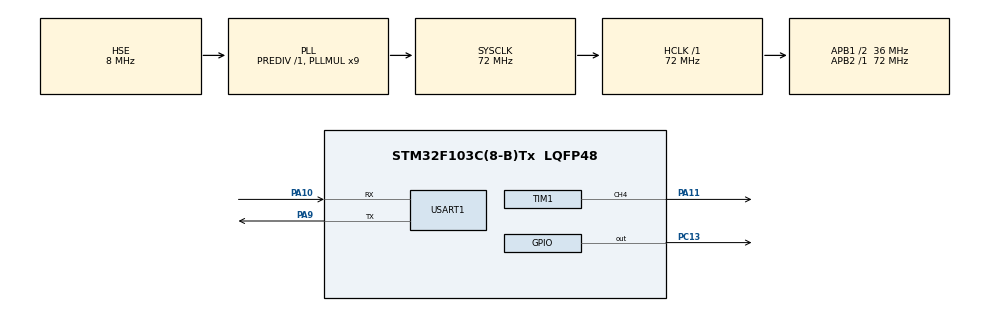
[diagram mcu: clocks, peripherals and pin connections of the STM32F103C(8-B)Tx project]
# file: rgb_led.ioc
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Dma.Request0=TIM1_CH4/TRIG/COM
Dma.Request1=USART1_RX
Dma.TIM1_CH4/TRIG/COM.0.Direction=DMA_MEMORY_TO_PERIPH
Dma.TIM1_CH4/TRIG/COM.0.Instance=DMA1_Channel4
Dma.TIM1_CH4/TRIG/COM.0.MemDataAlignment=DMA_MDATAALIGN_HALFWORD
Dma.TIM1_CH4/TRIG/COM.0.MemInc=DMA_MINC_ENABLE
Dma.TIM1_CH4/TRIG/COM.0.Mode=DMA_NORMAL
Dma.TIM1_CH4/TRIG/COM.0.PeriphDataAlignment=DMA_PDATAALIGN_HALFWORD
Dma.TIM1_CH4/TRIG/COM.0.PeriphInc=DMA_PINC_DISABLE
Dma.TIM1_CH4/TRIG/COM.0.Priority=DMA_PRIORITY_LOW
Dma.USART1_RX.1.Direction=DMA_PERIPH_TO_MEMORY
Dma.USART1_RX.1.Instance=DMA1_Channel5
Dma.USART1_RX.1.MemDataAlignment=DMA_MDATAALIGN_BYTE
Dma.USART1_RX.1.MemInc=DMA_MINC_ENABLE
Dma.USART1_RX.1.Mode=DMA_NORMAL
Dma.USART1_RX.1.PeriphDataAlignment=DMA_PDATAALIGN_BYTE
Dma.USART1_RX.1.PeriphInc=DMA_PINC_DISABLE
Dma.USART1_RX.1.Priority=DMA_PRIORITY_LOW
Mcu.Family=STM32F1
Mcu.Name=STM32F103C(8-B)Tx
Mcu.Package=LQFP48
NVIC.DMA1_Channel4_IRQn=true\:0\:0\:false\:false\:true\:false\:true\:true
NVIC.DMA1_Channel5_IRQn=true\:0\:0\:false\:false\:true\:false\:true\:true
NVIC.PriorityGroup=NVIC_PRIORITYGROUP_4
NVIC.TIM4_IRQn=true\:0\:0\:false\:false\:true\:true\:true\:true
PA10.Mode=Asynchronous
PA10.Signal=USART1_RX
PA11.Signal=S_TIM1_CH4
PA13.Mode=Serial_Wire
PA13.Signal=SYS_JTMS-SWDIO
PA14.Mode=Serial_Wire
PA14.Signal=SYS_JTCK-SWCLK
PA9.Mode=Asynchronous
PA9.Signal=USART1_TX
PC13-TAMPER-RTC.Signal=GPIO_Output
PD0-OSC_IN.Mode=HSE-External-Oscillator
PD0-OSC_IN.Signal=RCC_OSC_IN
PD1-OSC_OUT.Mode=HSE-External-Oscillator
PD1-OSC_OUT.Signal=RCC_OSC_OUT
ProjectManager.HeapSize=0x200
ProjectManager.StackSize=0x400
ProjectManager.TargetToolchain=STM32CubeIDE
RCC.AHBFreq_Value=72000000
RCC.APB1CLKDivider=RCC_HCLK_DIV2
RCC.APB1Freq_Value=36000000
RCC.APB1TimFreq_Value=72000000
RCC.APB2Freq_Value=72000000
RCC.APB2TimFreq_Value=72000000
RCC.HCLKFreq_Value=72000000
RCC.PLLMUL=RCC_PLL_MUL9
RCC.PLLSourceVirtual=RCC_PLLSOURCE_HSE
RCC.SYSCLKFreq_VALUE=72000000
RCC.SYSCLKSource=RCC_SYSCLKSOURCE_PLLCLK
RCC.USBFreq_Value=72000000
SH.S_TIM1_CH4.0=TIM1_CH4,PWM Generation4 CH4
TIM1.Channel-PWM\ Generation4\ CH4=TIM_CHANNEL_4
TIM1.Period=90-1
USART1.VirtualMode=VM_ASYNC
VP_TIM4_VS_ClockSourceINT.Mode=Internal
board=custom

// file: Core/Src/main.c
/* USER CODE BEGIN Header */
/**
  ******************************************************************************
  * @file           : main.c
  * @brief          : Main program body
  ******************************************************************************
  * @attention
  *
  * Copyright (c) 2025 STMicroelectronics.
  * All rights reserved.
  *
  * This software is licensed under terms that can be found in the LICENSE file
  * in the root directory of this software component.
  * If no LICENSE file comes with this software, it is provided AS-IS.
  *
  ******************************************************************************
  */
/* USER CODE END Header */
#include "main.h"

/* USER CODE BEGIN Includes */
#include "stdio.h"
#include "stdlib.h"
#include "string.h"
#include "math.h"
/* USER CODE END Includes */

TIM_HandleTypeDef htim1;
TIM_HandleTypeDef htim4;
DMA_HandleTypeDef hdma_tim1_ch4_trig_com;

UART_HandleTypeDef huart1;
DMA_HandleTypeDef hdma_usart1_rx;

void SystemClock_Config(void);
static void MX_GPIO_Init(void);
static void MX_DMA_Init(void);
static void MX_TIM1_Init(void);
static void MX_USART1_UART_Init(void);
static void MX_TIM4_Init(void);

/* USER CODE BEGIN 0 */
char rx_buffer[9];

#define MAX_LED 16
#define USE_BRIGHTNESS 1

typedef struct
{
	uint8_t state;
	uint8_t R, G, B;
	uint8_t brightness;
	uint8_t freq_ms;
} LED_t ;

LED_t RGB_LED;

uint8_t LED_Data[MAX_LED][4];
uint8_t data_sent_flag = 1;
uint16_t pwmData[(24*MAX_LED)+50];

void HAL_TIM_PWM_PulseFinishedCallback(TIM_HandleTypeDef *htim)
{
    if(htim == &htim1)
    {
        HAL_TIM_PWM_Stop_DMA(&htim1, TIM_CHANNEL_4);
        data_sent_flag = 1;
    }
}

void Set_LED(uint8_t led, uint8_t R, uint8_t G, uint8_t B, uint8_t brightness)
{
    if(led >= MAX_LED) return;

    LED_Data[led][0] = led;

#if USE_BRIGHTNESS
    if(brightness > 45) brightness = 45;
    float angle = (90 - brightness) * M_PI / 180;
    LED_Data[led][1] = G / tan(angle);  // Green
    LED_Data[led][2] = R / tan(angle);  // Red
    LED_Data[led][3] = B / tan(angle);  // Blue
#else
    LED_Data[led][1] = G;
    LED_Data[led][2] = R;
    LED_Data[led][3] = B;
#endif
}

void Update_LEDs()
{
    if(data_sent_flag)
    {
        uint32_t indx = 0;
        uint32_t color;

        for(int i = 0; i < MAX_LED; i++)
        {
            color = (LED_Data[i][1] << 16) | (LED_Data[i][2] << 8) | LED_Data[i][3];

            for(int j = 23; j >= 0; j--)
            {
                pwmData[indx++] = (color & (1 << j)) ? 60 : 30;
            }
        }

        for(int i = 0; i < 50; i++)
        {
            pwmData[indx++] = 0;
        }

        data_sent_flag = 0;

        HAL_TIM_PWM_Start_DMA(&htim1, TIM_CHANNEL_4, (uint32_t *)pwmData, indx);
    }
}

void Rainbow_Effect_16LED(uint16_t time_ms, uint8_t brightness)
{
	static uint16_t cnt_ms = 0;
	static uint16_t rainbow_step = 0;

	if(cnt_ms > time_ms)
	{
		if(brightness > 45)
		{
			brightness = 45;
		}
		else if(brightness < 0)
		{
			brightness = 0;
		}

		for(uint16_t i = 0; i < 16; i++)
		{
			uint16_t hue = (rainbow_step + i * 24) % 384;

			uint8_t r, g, b;

			if(hue < 128)
			{
				r = 255 - (hue * 2);
				g = hue * 2;
				b = 0;
			}
			else if(hue < 256)
			{
				r = 0;
				g = 255 - ((hue - 128) * 2);
				b = (hue - 128) * 2;
			}
			else
			{
				r = (hue - 256) * 2;
				g = 0;
				b = 255 - ((hue - 256) * 2);
			}

			Set_LED(i, r, g, b, brightness);
		}

		rainbow_step = (rainbow_step + 1) % 384;
		cnt_ms = 0;
	}
	else
	{
		cnt_ms++;
	}
}

void Bloom_Effect_16LED(uint16_t time_ms, uint8_t r, uint8_t g, uint8_t b)
{
	static uint16_t cnt_ms = 0;
	static uint8_t brightness = 0;
	static uint8_t up_direction = 1;

	if(cnt_ms > time_ms)
	{
		if(brightness >= 45)
		{
			up_direction = 0;
		}
		else if(brightness <= 0)
		{
			up_direction = 1;
		}

		if(up_direction)
		{
			brightness++;
		}
		else
		{
			brightness--;
		}

		for(int i = 0; i < 16; i++)
		{
			Set_LED(i, r, g, b, brightness);
		}

		cnt_ms = 0;
	}
	else
	{
		cnt_ms++;
	}

}

void Static_Effect_16LED(uint8_t r, uint8_t g, uint8_t b, uint8_t brightness)
{
	for(int i = 0; i < 16; i++)
	{
		Set_LED(i, r, g, b, brightness);
	}
}

void HAL_TIM_PeriodElapsedCallback(TIM_HandleTypeDef *htim)
{
	static uint8_t  led_state = 0;
	static uint16_t led_cnt   = 0;

	if(htim == &htim4)
	{
		switch(RGB_LED.state)
		{
			case 0:
				Bloom_Effect_16LED(RGB_LED.freq_ms, RGB_LED.R, RGB_LED.G, RGB_LED.B);
				break;
			case 1:
				Static_Effect_16LED(RGB_LED.R, RGB_LED.G, RGB_LED.B, RGB_LED.brightness);
				break;
			case 2:
				Rainbow_Effect_16LED(RGB_LED.freq_ms, RGB_LED.brightness);
				break;
		}

		Update_LEDs();

		if(led_cnt >= 249)
		{
			led_state = !(led_state);
			HAL_GPIO_WritePin(GPIOC, GPIO_PIN_13, led_state);
			led_cnt = 0;
		}
		else
		{
			led_cnt++;
		}

	}
}

void HAL_UART_RxCpltCallback(UART_HandleTypeDef *huart)
{
	if(huart == &huart1)
	{
		if(rx_buffer[0] == 'A' && rx_buffer[1] == 'B' && rx_buffer[2] == 'C')
		{
			memcpy(&RGB_LED, rx_buffer + 3, sizeof(RGB_LED));
		}
		HAL_UART_Receive_DMA(&huart1, (uint8_t*)rx_buffer, sizeof(rx_buffer));
	}
}

void HAL_UART_RxHalfCpltCallback(UART_HandleTypeDef *huart)
{
	if(huart == &huart1)
	{
		if(!(rx_buffer[0] == 'A' && rx_buffer[1] == 'B' && rx_buffer[2] == 'C'))
		{
			HAL_UART_AbortReceive(&huart1);
			HAL_UART_Receive_DMA(&huart1, (uint8_t*)rx_buffer, sizeof(rx_buffer));
		}
	}
}

void HAL_UART_ErrorCallback(UART_HandleTypeDef *huart)
{
	if(huart == &huart1)
	{
		HAL_UART_AbortReceive(&huart1);
		HAL_UART_Receive_DMA(&huart1, (uint8_t*)rx_buffer, sizeof(rx_buffer));
	}
}

/* USER CODE END 0 */

int main(void)
{

  /* MCU Configuration--------------------------------------------------------*/

  /* Reset of all peripherals, Initializes the Flash interface and the Systick. */
  HAL_Init();

  /* Configure the system clock */
  SystemClock_Config();

  /* Initialize all configured peripherals */
  MX_GPIO_Init();
  MX_DMA_Init();
  MX_TIM1_Init();
  MX_USART1_UART_Init();
  MX_TIM4_Init();
  /* USER CODE BEGIN 2 */
  HAL_UART_Receive_DMA(&huart1, (uint8_t*)rx_buffer, sizeof(rx_buffer));

  HAL_TIM_Base_Start_IT(&htim4);
  /* USER CODE END 2 */

  /* Infinite loop */
  while (1)
  {

  }
}

void SystemClock_Config(void)
{
  RCC_OscInitTypeDef RCC_OscInitStruct = {0};
  RCC_ClkInitTypeDef RCC_ClkInitStruct = {0};

  /** Initializes the RCC Oscillators according to the specified parameters
  * in the RCC_OscInitTypeDef structure.
  */
  RCC_OscInitStruct.OscillatorType = RCC_OSCILLATORTYPE_HSE;
  RCC_OscInitStruct.HSEState = RCC_HSE_ON;
  RCC_OscInitStruct.HSEPredivValue = RCC_HSE_PREDIV_DIV1;
  RCC_OscInitStruct.HSIState = RCC_HSI_ON;
  RCC_OscInitStruct.PLL.PLLState = RCC_PLL_ON;
  RCC_OscInitStruct.PLL.PLLSource = RCC_PLLSOURCE_HSE;
  RCC_OscInitStruct.PLL.PLLMUL = RCC_PLL_MUL9;
  if (HAL_RCC_OscConfig(&RCC_OscInitStruct) != HAL_OK)
  {
    Error_Handler();
  }

  /** Initializes the CPU, AHB and APB buses clocks
  */
  RCC_ClkInitStruct.ClockType = RCC_CLOCKTYPE_HCLK|RCC_CLOCKTYPE_SYSCLK
                              |RCC_CLOCKTYPE_PCLK1|RCC_CLOCKTYPE_PCLK2;
  RCC_ClkInitStruct.SYSCLKSource = RCC_SYSCLKSOURCE_PLLCLK;
  RCC_ClkInitStruct.AHBCLKDivider = RCC_SYSCLK_DIV1;
  RCC_ClkInitStruct.APB1CLKDivider = RCC_HCLK_DIV2;
  RCC_ClkInitStruct.APB2CLKDivider = RCC_HCLK_DIV1;

  if (HAL_RCC_ClockConfig(&RCC_ClkInitStruct, FLASH_LATENCY_2) != HAL_OK)
  {
    Error_Handler();
  }
}

static void MX_TIM1_Init(void)
{

  TIM_MasterConfigTypeDef sMasterConfig = {0};
  TIM_OC_InitTypeDef sConfigOC = {0};
  TIM_BreakDeadTimeConfigTypeDef sBreakDeadTimeConfig = {0};

  htim1.Instance = TIM1;
  htim1.Init.Prescaler = 0;
  htim1.Init.CounterMode = TIM_COUNTERMODE_UP;
  htim1.Init.Period = 90-1;
  htim1.Init.ClockDivision = TIM_CLOCKDIVISION_DIV1;
  htim1.Init.RepetitionCounter = 0;
  htim1.Init.AutoReloadPreload = TIM_AUTORELOAD_PRELOAD_DISABLE;
  if (HAL_TIM_PWM_Init(&htim1) != HAL_OK)
  {
    Error_Handler();
  }
  sMasterConfig.MasterOutputTrigger = TIM_TRGO_RESET;
  sMasterConfig.MasterSlaveMode = TIM_MASTERSLAVEMODE_DISABLE;
  if (HAL_TIMEx_MasterConfigSynchronization(&htim1, &sMasterConfig) != HAL_OK)
  {
    Error_Handler();
  }
  sConfigOC.OCMode = TIM_OCMODE_PWM1;
  sConfigOC.Pulse = 0;
  sConfigOC.OCPolarity = TIM_OCPOLARITY_HIGH;
  sConfigOC.OCFastMode = TIM_OCFAST_DISABLE;
  sConfigOC.OCIdleState = TIM_OCIDLESTATE_RESET;
  sConfigOC.OCNIdleState = TIM_OCNIDLESTATE_RESET;
  if (HAL_TIM_PWM_ConfigChannel(&htim1, &sConfigOC, TIM_CHANNEL_4) != HAL_OK)
  {
    Error_Handler();
  }
  sBreakDeadTimeConfig.OffStateRunMode = TIM_OSSR_DISABLE;
  sBreakDeadTimeConfig.OffStateIDLEMode = TIM_OSSI_DISABLE;
  sBreakDeadTimeConfig.LockLevel = TIM_LOCKLEVEL_OFF;
  sBreakDeadTimeConfig.DeadTime = 0;
  sBreakDeadTimeConfig.BreakState = TIM_BREAK_DISABLE;
  sBreakDeadTimeConfig.BreakPolarity = TIM_BREAKPOLARITY_HIGH;
  sBreakDeadTimeConfig.AutomaticOutput = TIM_AUTOMATICOUTPUT_DISABLE;
  if (HAL_TIMEx_ConfigBreakDeadTime(&htim1, &sBreakDeadTimeConfig) != HAL_OK)
  {
    Error_Handler();
  }
  HAL_TIM_MspPostInit(&htim1);

}

static void MX_TIM4_Init(void)
{

  TIM_ClockConfigTypeDef sClockSourceConfig = {0};
  TIM_MasterConfigTypeDef sMasterConfig = {0};

  htim4.Instance = TIM4;
  htim4.Init.Prescaler = 0;
  htim4.Init.CounterMode = TIM_COUNTERMODE_UP;
  htim4.Init.Period = 65535;
  htim4.Init.ClockDivision = TIM_CLOCKDIVISION_DIV1;
  htim4.Init.AutoReloadPreload = TIM_AUTORELOAD_PRELOAD_DISABLE;
  if (HAL_TIM_Base_Init(&htim4) != HAL_OK)
  {
    Error_Handler();
  }
  sClockSourceConfig.ClockSource = TIM_CLOCKSOURCE_INTERNAL;
  if (HAL_TIM_ConfigClockSource(&htim4, &sClockSourceConfig) != HAL_OK)
  {
    Error_Handler();
  }
  sMasterConfig.MasterOutputTrigger = TIM_TRGO_RESET;
  sMasterConfig.MasterSlaveMode = TIM_MASTERSLAVEMODE_DISABLE;
  if (HAL_TIMEx_MasterConfigSynchronization(&htim4, &sMasterConfig) != HAL_OK)
  {
    Error_Handler();
  }

}

static void MX_USART1_UART_Init(void)
{

  huart1.Instance = USART1;
  huart1.Init.BaudRate = 115200;
  huart1.Init.WordLength = UART_WORDLENGTH_8B;
  huart1.Init.StopBits = UART_STOPBITS_1;
  huart1.Init.Parity = UART_PARITY_NONE;
  huart1.Init.Mode = UART_MODE_TX_RX;
  huart1.Init.HwFlowCtl = UART_HWCONTROL_NONE;
  huart1.Init.OverSampling = UART_OVERSAMPLING_16;
  if (HAL_UART_Init(&huart1) != HAL_OK)
  {
    Error_Handler();
  }

}

static void MX_DMA_Init(void)
{

  /* DMA controller clock enable */
  __HAL_RCC_DMA1_CLK_ENABLE();

  /* DMA interrupt init */
  /* DMA1_Channel4_IRQn interrupt configuration */
  HAL_NVIC_SetPriority(DMA1_Channel4_IRQn, 0, 0);
  HAL_NVIC_EnableIRQ(DMA1_Channel4_IRQn);
  /* DMA1_Channel5_IRQn interrupt configuration */
  HAL_NVIC_SetPriority(DMA1_Channel5_IRQn, 0, 0);
  HAL_NVIC_EnableIRQ(DMA1_Channel5_IRQn);

}

static void MX_GPIO_Init(void)
{
  GPIO_InitTypeDef GPIO_InitStruct = {0};

  /* GPIO Ports Clock Enable */
  __HAL_RCC_GPIOC_CLK_ENABLE();
  __HAL_RCC_GPIOD_CLK_ENABLE();
  __HAL_RCC_GPIOA_CLK_ENABLE();

  /*Configure GPIO pin Output Level */
  HAL_GPIO_WritePin(GPIOC, GPIO_PIN_13, GPIO_PIN_RESET);

  /*Configure GPIO pin : PC13 */
  GPIO_InitStruct.Pin = GPIO_PIN_13;
  GPIO_InitStruct.Mode = GPIO_MODE_OUTPUT_PP;
  GPIO_InitStruct.Pull = GPIO_NOPULL;
  GPIO_InitStruct.Speed = GPIO_SPEED_FREQ_LOW;
  HAL_GPIO_Init(GPIOC, &GPIO_InitStruct);

}

void Error_Handler(void)
{
  __disable_irq();
  while (1)
  {
  }
}
